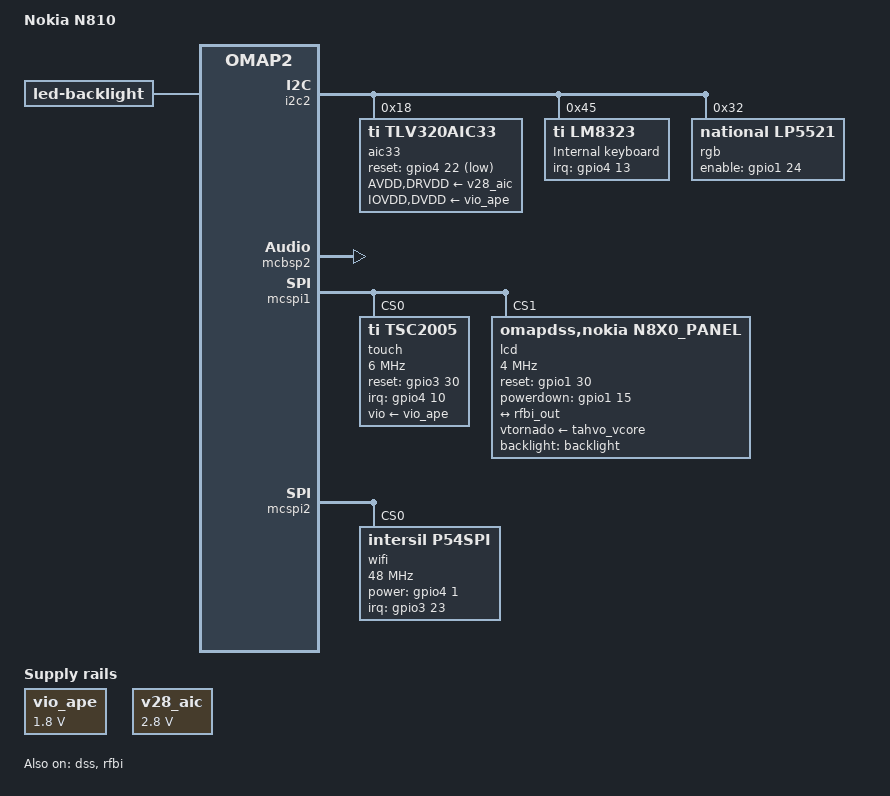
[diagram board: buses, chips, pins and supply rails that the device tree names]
// SPDX-License-Identifier: GPL-2.0
/dts-v1/;

#include "omap2420-n8x0-common.dtsi"
#include <dt-bindings/input/input.h>
#include <dt-bindings/leds/common.h>

/ {
	model = "Nokia N810";
	compatible = "nokia,n810", "nokia,n8x0", "ti,omap2420", "ti,omap2";

	vio_ape: vio_ape {
		compatible = "regulator-fixed";
		regulator-name = "vio_ape";
		regulator-min-microvolt = <1800000>;
		regulator-max-microvolt = <1800000>;
	};

	v28_aic: v28_aic {
		compatible = "regulator-fixed";
		regulator-name = "v28_aic";
		regulator-min-microvolt = <2800000>;
		regulator-max-microvolt = <2800000>;
	};

	backlight: backlight {
		compatible = "led-backlight";

		leds = <&tahvo_ledpwm>;
		brightness-levels = <
			  0   1   2   3   4   5   6   7
			  8   9  10  11  12  13  14  15
			 16  17  18  19  20  21  22  23
			 24  25  26  27  28  29  30  31
			 32  33  34  35  36  37  38  39
			 40  41  42  43  44  45  46  47
			 48  49  50  51  52  53  54  55
			 56  57  58  59  60  61  62  63
			 64  65  66  67  68  69  70  71
			 72  73  74  75  76  77  78  79
			 80  81  82  83  84  85  86  87
			 88  89  90  91  92  93  94  95
			 96  97  98  99 100 101 102 103
			104 105 106 107 108 109 110 111
			112 113 114 115 116 117 118 119
			120 121 122 123 124 125 126 127>;
		default-brightness-level = <100>;
	};
};

&retu {
	retu_rtc: retu_rtc {
		compatible = "nokia,retu,rtc";
	};
	retu_regs: retu_regs {
		compatible = "nokia,retu,regs";
		nregs = <0x20>;
	};
};

&tahvo {
	tahvo_ledpwm: tahvo_ledpwm {
		compatible = "nokia,tahvo,ledpwm";
	};
	tahvo_vcore: tahvo_vcore {
		compatible = "nokia,tahvo,vcore-regulator";
		regulator-name = "tornado_vcore";
		regulator-min-microvolt = <1005000>;
		regulator-max-microvolt = <1475000>;
		regulator-always-on;
	};
	tahvo_regs: tahvo_regs {
		compatible = "nokia,retu,regs";
		nregs = <0x0e>;
	};
};

&omap2420_pmx {
	mcbsp2_pins: mcbsp2_pins {
		pinctrl-single,pins = <
			OMAP2420_CORE_IOPAD(0x0124, PIN_INPUT | MUX_MODE1)	/* eac_ac_sclk.mcbsp2_clkx */
			OMAP2420_CORE_IOPAD(0x0125, PIN_INPUT | MUX_MODE1)	/* eac_ac_fs.mcbsp2_fsx */
			OMAP2420_CORE_IOPAD(0x0126, PIN_INPUT | MUX_MODE1)	/* eac_ac_din.mcbsp2_dr */
			OMAP2420_CORE_IOPAD(0x0127, PIN_OUTPUT | MUX_MODE1)	/* eac_ac_dout.mcbsp2_dx */
		>;
	};

	aic33_pins: aic33_pins {
		pinctrl-single,pins = <
			OMAP2420_CORE_IOPAD(0x0129, PIN_OUTPUT | MUX_MODE3)	/* eac_ac_rst.gpio118 */
			OMAP2420_CORE_IOPAD(0x00e8, PIN_OUTPUT | MUX_MODE2)	/* vlynq_tx1.sys_clkout2 */
		>;
	};

	n8x0_panel_pins: pinmux_n8x0_panel_pins {
		pinctrl-single,pins = <
			OMAP2420_CORE_IOPAD(0x0098, PIN_OUTPUT | MUX_MODE3)     /* N8X0_LCD_RESET_GPIO, gpmc_nbe1.gpio_30 */
			OMAP2420_CORE_IOPAD(0x00e7, PIN_OUTPUT | MUX_MODE3)     /* N8X0_POWERDOWN_GPIO, vlynq_rx0.gpio_15 */
		>;
	};
	dss_rfbi_pins: pinmux_dss_rfbi_pins {
		pinctrl-single,pins = <
			OMAP2420_CORE_IOPAD(0x00b3, PIN_OUTPUT | MUX_MODE0)     /* dss_d0 */
			OMAP2420_CORE_IOPAD(0x00b4, PIN_OUTPUT | MUX_MODE0)     /* dss_d1 */
			OMAP2420_CORE_IOPAD(0x00b5, PIN_OUTPUT | MUX_MODE0)     /* dss_d2 */
			OMAP2420_CORE_IOPAD(0x00b6, PIN_OUTPUT | MUX_MODE0)     /* dss_d3 */
			OMAP2420_CORE_IOPAD(0x00b7, PIN_OUTPUT | MUX_MODE0)     /* dss_d4 */
			OMAP2420_CORE_IOPAD(0x00b8, PIN_OUTPUT | MUX_MODE0)     /* dss_d5 */
			OMAP2420_CORE_IOPAD(0x00b9, PIN_OUTPUT | MUX_MODE0)     /* dss_d6 */
			OMAP2420_CORE_IOPAD(0x00ba, PIN_OUTPUT | MUX_MODE0)     /* dss_d7 */
			OMAP2420_CORE_IOPAD(0x00bb, PIN_OUTPUT | MUX_MODE0)     /* dss_d8 */
			OMAP2420_CORE_IOPAD(0x00bc, PIN_OUTPUT | MUX_MODE0)     /* dss_d9 */
			OMAP2420_CORE_IOPAD(0x00bd, PIN_OUTPUT | MUX_MODE0)     /* dss_d10 */
			OMAP2420_CORE_IOPAD(0x00be, PIN_OUTPUT | MUX_MODE0)     /* dss_d11 */
			OMAP2420_CORE_IOPAD(0x00bf, PIN_OUTPUT | MUX_MODE0)     /* dss_d12 */
			OMAP2420_CORE_IOPAD(0x00c0, PIN_OUTPUT | MUX_MODE0)     /* dss_d13 */
			OMAP2420_CORE_IOPAD(0x00c1, PIN_OUTPUT | MUX_MODE0)     /* dss_d14 */
			OMAP2420_CORE_IOPAD(0x00c2, PIN_OUTPUT | MUX_MODE0)     /* dss_d15 */
			OMAP2420_CORE_IOPAD(0x00c3, PIN_OUTPUT | MUX_MODE0)     /* dss_d16 */
			OMAP2420_CORE_IOPAD(0x00cb, PIN_OUTPUT | MUX_MODE0)     /* dss_pclk/rdx */
			OMAP2420_CORE_IOPAD(0x00cc, PIN_OUTPUT | MUX_MODE0)     /* dss_vsync/wrx */
			OMAP2420_CORE_IOPAD(0x00cd, PIN_OUTPUT | MUX_MODE0)     /* dss_hsync/csx */
			OMAP2420_CORE_IOPAD(0x00ce, PIN_OUTPUT | MUX_MODE0)     /* dss_acbias/data_en/cmd */
		>;
	};
};

&i2c2 {
	aic33@18 {
		compatible = "ti,tlv320aic33";
		reg = <0x18>;

		pinctrl-names = "default";
		pinctrl-0 = <&aic33_pins>;

		reset-gpios = <&gpio4 22 GPIO_ACTIVE_LOW>; /* gpio118 */

		ai3x-gpio-func = <
			10 /* AIC3X_GPIO1_FUNC_DIGITAL_MIC_MODCLK */
			5 /* AIC3X_GPIO2_FUNC_DIGITAL_MIC_INPUT */
		>;
		ai3x-micbias-vg = <1>; /* 2V */

		AVDD-supply = <&v28_aic>;
		DRVDD-supply = <&v28_aic>;
		IOVDD-supply = <&vio_ape>;
		DVDD-supply = <&vio_ape>;

		assigned-clocks = <&sys_clkout2_src>, <&sys_clkout2>;
		assigned-clock-parents = <&func_96m_ck>;
		assigned-clock-rates = <0>, <12000000>;
	};

	lm8323@45 {
		compatible = "ti,lm8323";
		reg = <0x45>;
		interrupts-extended = <&gpio4 13 IRQ_TYPE_LEVEL_LOW>; // gpio109

		label = "Internal keyboard";
		pwm-names = "n810::keyboard", "n810::cover";

		repeat = <0>;  // Repeat is handled in userspace for now.
		debounce-ms = <30>;
		active-ms = <500>;

		keypad,num-columns = <12>;
		keypad,num-rows = <8>;

		linux,keymap = <
			MATRIX_KEY(0x00, 0x00, KEY_Q)
			MATRIX_KEY(0x00, 0x01, KEY_K)
			MATRIX_KEY(0x00, 0x02, KEY_O)
			MATRIX_KEY(0x00, 0x03, KEY_P)
			MATRIX_KEY(0x00, 0x04, KEY_BACKSPACE)
			MATRIX_KEY(0x00, 0x05, KEY_A)
			MATRIX_KEY(0x00, 0x06, KEY_S)
			MATRIX_KEY(0x00, 0x07, KEY_D)
			MATRIX_KEY(0x00, 0x08, KEY_F)
			MATRIX_KEY(0x00, 0x09, KEY_G)
			MATRIX_KEY(0x00, 0x0a, KEY_H)
			MATRIX_KEY(0x00, 0x0b, KEY_J)

			MATRIX_KEY(0x01, 0x00, KEY_W)
			MATRIX_KEY(0x01, 0x01, KEY_F4)
			MATRIX_KEY(0x01, 0x02, KEY_L)
			MATRIX_KEY(0x01, 0x03, KEY_APOSTROPHE)
			MATRIX_KEY(0x01, 0x05, KEY_Z)
			MATRIX_KEY(0x01, 0x06, KEY_X)
			MATRIX_KEY(0x01, 0x07, KEY_C)
			MATRIX_KEY(0x01, 0x08, KEY_V)
			MATRIX_KEY(0x01, 0x09, KEY_B)
			MATRIX_KEY(0x01, 0x0a, KEY_N)
			MATRIX_KEY(0x01, 0x0b, KEY_LEFTSHIFT) // Actually, this is both shift keys
			MATRIX_KEY(0x01, 0x0e, KEY_F7)

			MATRIX_KEY(0x02, 0x00, KEY_E)
			MATRIX_KEY(0x02, 0x01, KEY_SEMICOLON)
			MATRIX_KEY(0x02, 0x02, KEY_MINUS)
			MATRIX_KEY(0x02, 0x03, KEY_EQUAL)
			MATRIX_KEY(0x02, 0x0a, KEY_LEFTALT) // FN as Left-Alt
			// MATRIX_KEY(0x02, 0x0a, KEY_FN) // Normal FN
			MATRIX_KEY(0x02, 0x0b, KEY_M)
			MATRIX_KEY(0x02, 0x0e, KEY_F8)

			MATRIX_KEY(0x03, 0x00, KEY_R)
			MATRIX_KEY(0x03, 0x01, KEY_RIGHTCTRL)
			MATRIX_KEY(0x03, 0x03, KEY_SPACE)
			MATRIX_KEY(0x03, 0x04, KEY_COMMA)
			MATRIX_KEY(0x03, 0x06, KEY_UP)
			MATRIX_KEY(0x03, 0x0b, KEY_COMPOSE)
			MATRIX_KEY(0x03, 0x0e, KEY_F6)

			MATRIX_KEY(0x04, 0x00, KEY_T)
			MATRIX_KEY(0x04, 0x03, KEY_DOT)
			MATRIX_KEY(0x04, 0x05, KEY_RIGHT)
			MATRIX_KEY(0x04, 0x0e, KEY_F5)

			MATRIX_KEY(0x05, 0x00, KEY_Y)
			MATRIX_KEY(0x05, 0x02, KEY_DOWN)
			MATRIX_KEY(0x05, 0x04, KEY_ENTER)
			MATRIX_KEY(0x05, 0x0e, KEY_ESC)

			MATRIX_KEY(0x06, 0x00, KEY_U)
			MATRIX_KEY(0x06, 0x03, KEY_LEFT)

			MATRIX_KEY(0x07, 0x00, KEY_I)
			MATRIX_KEY(0x07, 0x04, KEY_KPENTER)
			>;
	};

	lp5521@32 {
		compatible = "national,lp5521";
		reg = <0x32>;
		clock-mode = /bits/ 8 <2>;
		label = "rgb";
		enable-gpio = <&gpio1 24 GPIO_ACTIVE_HIGH>;
		interrupts = <&gpio1 27 IRQ_TYPE_EDGE_RISING>;
		#address-cells = <1>;
		#size-cells = <0>;
		chan@0 {
			reg = <0>;
			color = <LED_COLOR_ID_RED>;
			chan-name = "red";
			led-cur = /bits/ 8 <0x2f>;
			max-cur = /bits/ 8 <0x5f>;
			linux,default-trigger = "panic";
		};
		chan@1 {
			reg = <1>;
			color = <LED_COLOR_ID_GREEN>;
			chan-name = "green";
			led-cur = /bits/ 8 <0x2f>;
			max-cur = /bits/ 8 <0x5f>;
		};
		chan@2 {
			reg = <2>;
			color = <LED_COLOR_ID_BLUE>;
			chan-name = "blue";
			led-cur = /bits/ 8 <0x2f>;
			max-cur = /bits/ 8 <0x5f>;
			linux,default-trigger = "heartbeat";
		};

	};
};

&mcbsp2 {
	pinctrl-names = "default";
	pinctrl-0 = <&mcbsp2_pins>;

	status = "okay";
};

&gpio1 {
	ti,no-reset-on-init;
};

&dss {
	status = "okay";
};

&dispc {
	ti,no-reset-on-init;
};

&rfbi {
	status = "okay";
	pinctrl-names = "default";
	pinctrl-0 = <&dss_rfbi_pins>;

	port {
		rfbi_out: endpoint {
			remote-endpoint = <&lcd_in>;
			data-lines = <24>;
		};
	};
};

&mcspi1 {
	status = "okay";
	ti,spi-num-cs = <2>;
	#address-cells = <1>;
	#size-cells = <0>;

	touch: tsc2005@0 {
		compatible = "ti,tsc2005";
		spi-max-frequency = <6000000>;
		reg = <0>;

		vio-supply = <&vio_ape>;

		reset-gpios = <&gpio3 30 GPIO_ACTIVE_HIGH>; /* 94 */
		interrupts-extended = <&gpio4 10 IRQ_TYPE_EDGE_RISING>; /* 106 */

		touchscreen-fuzz-x = <4>;
		touchscreen-fuzz-y = <7>;
		touchscreen-fuzz-pressure = <2>;
		touchscreen-size-x = <4096>;
		touchscreen-size-y = <4096>;
		touchscreen-max-pressure = <2048>;

		ti,x-plate-ohms = <280>;
		ti,esd-recovery-timeout-ms = <8000>;
	};

	lcd: n8x0_panel@1 {
		compatible = "omapdss,nokia,n8x0_panel";
		spi-max-frequency = <4000000>;
		reg = <1>;

		pinctrl-names = "default";
		pinctrl-0 = <&n8x0_panel_pins>;

		clocks = <&osc_ck>;
		clock-names = "osc_ck";

		label = "lcd";
		reset-gpios = <&gpio1 30 GPIO_ACTIVE_HIGH>; /* 30 */
		powerdown-gpio = <&gpio1 15 GPIO_ACTIVE_HIGH>; /* 15 */

		vtornado-supply = <&tahvo_vcore>;
		vtornado-on-microvolt = <1475000>;
		vtornado-off-microvolt = <1005000>;

		backlight = <&backlight>;

		port {
			lcd_in: endpoint {
				remote-endpoint = <&rfbi_out>;
			};
		};
	};
};

&mcspi2 {
	status = "okay";
	#address-cells = <1>;
	#size-cells = <0>;

	wifi: p54spi@0 {
		compatible = "intersil,p54spi";
		spi-max-frequency = <48000000>;
		reg = <0>;

		power-gpio = <&gpio4 1 GPIO_ACTIVE_HIGH>; /* 97 */
		interrupts-extended = <&gpio3 23 IRQ_TYPE_EDGE_RISING>; /* 87 */
	};
};

